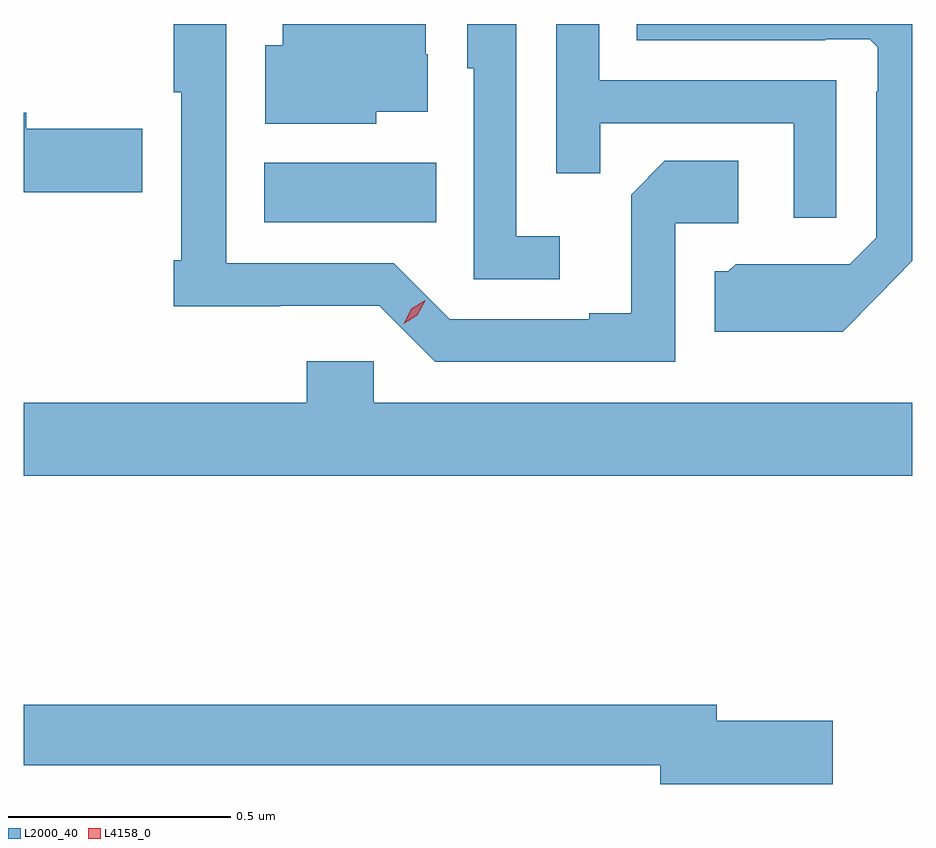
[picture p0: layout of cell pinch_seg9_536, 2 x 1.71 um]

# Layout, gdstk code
import gdstk
lib = gdstk.Library(unit=1e-6, precision=1e-09)
def R(c, l, rs):  # rectangles x0, y0, x1, y1
    for r in rs: c.add(gdstk.rectangle(r[:2], r[2:], *l))
def P(c, l, *ps):  # polygons
    for p in ps: c.add(gdstk.Polygon(p, *l))
L2000_40 = (2000, 40)
L4158_0 = (4158, 0)

pinch_seg9_536 = lib.new_cell('pinch_seg9_536')
R(pinch_seg9_536, L2000_40, [(268.793,1185.002,269.18,1185.136)])
P(pinch_seg9_536, L2000_40, [(270.175,1184.837),(270.252,1184.915),(270.252,1185.448),(269.632,1185.448),(269.632,1185.411),(270.056,1185.411),(270.056,1185.414),(270.156,1185.414),(270.174,1185.396),(270.174,1185.296),(270.171,1185.296),(270.171,1184.967),(270.111,1184.907),(269.988,1184.907),(269.988,1184.908),(269.854,1184.908),(269.838,1184.892),(269.807,1184.892),(269.807,1184.756),(270.095,1184.756)],
  [(269.718,1185),(269.86,1185),(269.86,1185.14),(269.695,1185.14),(269.619,1185.064),(269.619,1184.797),(269.525,1184.797),(269.525,1184.784),(269.211,1184.784),(269.085,1184.91),(268.708,1184.91),(268.708,1185.448),(268.59,1185.448),(268.59,1185.295),(268.607,1185.295),(268.607,1184.917),(268.59,1184.917),(268.59,1184.813),(268.83,1184.813),(268.83,1184.814),(269.052,1184.814),(269.178,1184.688),(269.718,1184.688)],
  [(269.046,1185.251),(269.161,1185.251),(269.161,1185.38),(269.157,1185.38),(269.157,1185.448),(268.835,1185.448),(268.835,1185.4),(268.796,1185.4),(268.796,1185.224),(269.046,1185.224)],
  [(270.081,1185.321),(269.547,1185.321),(269.547,1185.448),(269.451,1185.448),(269.451,1185.112),(269.549,1185.112),(269.549,1185.225),(269.985,1185.225),(269.985,1185.012),(270.081,1185.012)],
  [(269.458,1184.971),(269.361,1184.971),(269.361,1185.448),(269.25,1185.448),(269.25,1185.348),(269.265,1185.348),(269.265,1184.874),(269.458,1184.874)],
  [(268.519,1185.212),(268.258,1185.212),(268.258,1185.248),(268.252,1185.248),(268.252,1185.07),(268.519,1185.07)],
  [(270.252,1184.596),(269.04,1184.596),(269.04,1184.689),(268.889,1184.689),(268.889,1184.596),(268.252,1184.596),(268.252,1184.432),(270.252,1184.432)],
  [(270.073,1183.88),(269.812,1183.88),(269.812,1183.916),(268.252,1183.916),(268.252,1183.78),(269.684,1183.78),(269.684,1183.738),(270.073,1183.738)])
P(pinch_seg9_536, L4158_0, [(269.107,1184.774),(269.107,1184.774),(269.124,1184.807),(269.156,1184.826),(269.156,1184.826),(269.156,1184.825),(269.138,1184.793),(269.107,1184.774)])

lib.write_gds('pinch_seg9_536.gds')
